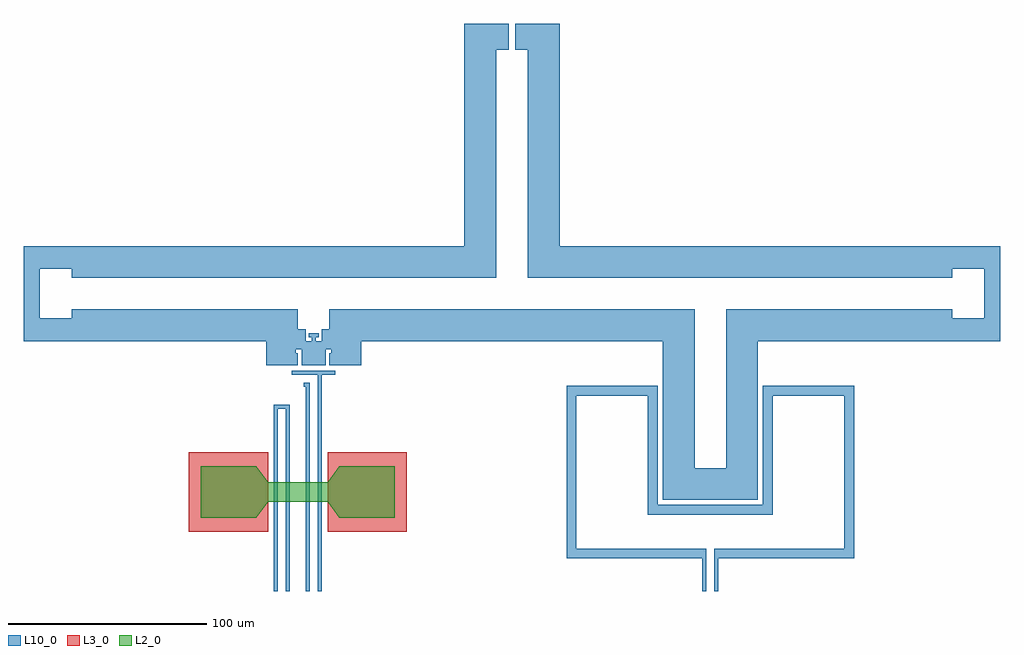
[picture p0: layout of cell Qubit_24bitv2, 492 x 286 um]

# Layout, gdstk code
import gdstk
lib = gdstk.Library(unit=1e-6, precision=1e-09)
def R(c, l, rs):  # rectangles x0, y0, x1, y1
    for r in rs: c.add(gdstk.rectangle(r[:2], r[2:], *l))
def P(c, l, *ps):  # polygons
    for p in ps: c.add(gdstk.Polygon(p, *l))
L2_0 = (2, 0)
L3_0 = (3, 0)
L10_0 = (10, 0)

airbridge1ins = lib.new_cell('airbridge1ins')
R(airbridge1ins, L2_0, [(-49,-13,-21,-5), (21,-13,49,-5), (-49,-5,-30,5), (-30,-5,30,5), (30,-5,49,5), (-49,5,-21,13), (21,5,49,13)])
P(airbridge1ins, L2_0, [(15,-5),(21,-13),(21,-5)],
  [(15,5),(21,13),(21,5)],
  [(-15,-5),(-21,-13),(-21,-5)],
  [(-15,5),(-21,13),(-21,5)])
R(airbridge1ins, L3_0, [(-55,-20,-15,20), (15,-20,55,20)])

qubit_24bitv2 = lib.new_cell('Qubit_24bitv2')
R(qubit_24bitv2, L10_0, [(-120,-136,-118,-42), (-114,-136,-112,-42), (96,-136,98,-119.5), (102,-136,104,-119.5), (27.5,-119.5,32.5,-32.5), (32.5,-119.5,98,-114.5), (102,-119.5,167.5,-114.5), (167.5,-119.5,172.5,-32.5), (68.5,-97.5,131.5,-92.5), (68.5,-92.5,73.5,-32.5), (126.5,-92.5,131.5,-32.5), (76,-90,92,-10), (92,-90,108,-74), (108,-90,124,-10), (-118,-44,-114,-42), (32.5,-37.5,68.5,-32.5), (131.5,-37.5,167.5,-32.5), (-246,-10,-238,38), (-238,-10,-222,1.5), (-222,-10,-206,6), (-206,-10,-158,6), (-158,-10,-124,6), (-76,-10,92,6), (108,-10,158,6), (158,-10,206,6), (206,-10,222,6), (222,-10,238,1.5), (238,-10,246,38), (-222,22,-206,38), (-206,22,-32,38), (-32,22,-8,38), (8,22,32,38), (32,22,206,38), (206,22,222,38), (-238,26.5,-222,38), (222,26.5,238,38), (-24,38,-8,110), (8,38,24,110), (-24,110,-8,126), (8,110,24,126), (-24,126,-8,142), (8,126,24,142), (-8,137,-1.6,150), (1.6,137,8,150), (-24,142,-8,150), (8,142,24,150)])
P(qubit_24bitv2, L10_0, [(-124,6),(-108,6),(-108,-4),(-104,-4),(-104,-10),(-101,-10),(-101,-8),(-102.5,-8),(-102.5,-6),(-97.5,-6),(-97.5,-8),(-99,-8),(-99,-10),(-96,-10),(-96,-4),(-92,-4),(-92,6),(-76,6),(-76,-22),(-92,-22),(-92,-16),(-91,-16),(-91,-14),(-94,-14),(-94,-22),(-106,-22),(-106,-14),(-109,-14),(-109,-16),(-108,-16),(-108,-22),(-124,-22)],
  [(-104,-33),(-105,-33),(-105,-31),(-102,-31),(-102,-136),(-104,-136)],
  [(-98,-27),(-111,-27),(-111,-25),(-89,-25),(-89,-27),(-96,-27),(-96,-136),(-98,-136)])
qubit_24bitv2.add(gdstk.Reference(airbridge1ins, (-108,-86), x_reflection=True))

lib.write_gds('Qubit_24bitv2.gds')
